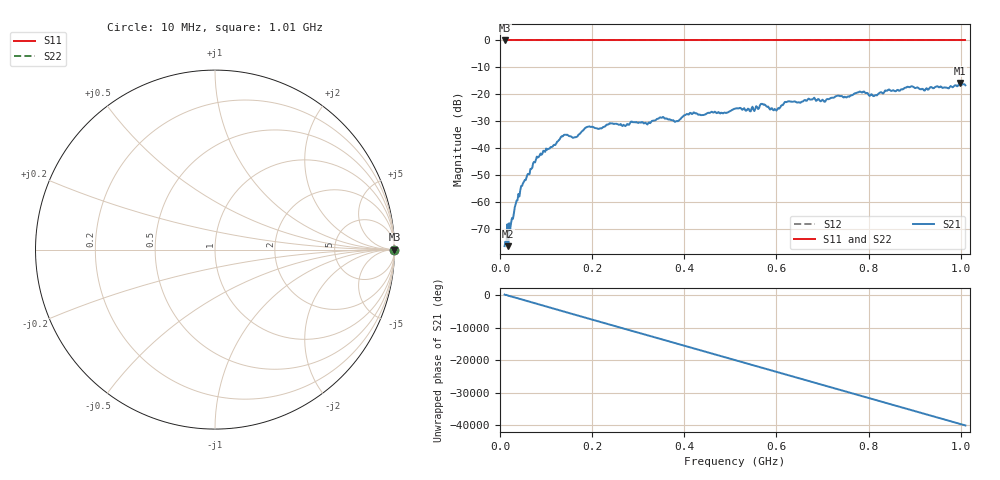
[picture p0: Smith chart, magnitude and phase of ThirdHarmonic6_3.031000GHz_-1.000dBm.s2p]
! 8/17/2025 8:45:07 AM
! C:\ANRITSUVNA\TEMP\TEMP.S2P
! CHANNEL.1
! TR.MEASUREMENT
! RAW.DATA
! RF.CORRECTION.OFF
! AVERAGING.OFF
! IF.BANDWIDTH: 5KHZ
! SWEEPTYPE:  FREQ.SWEEP(Linear)
! Reference Plane Port Info
! PORT:  PORT1  PORT2
! DISTANCE:  0  m  0  m
! TIME:  0  s  0  s
! PHASE.OFFSET:  0  deg.  0  deg.
! LOSS:  0  dB  0  dB
! REF.LOSS:  0  dB  0  dB
! REF.FREQ:  0  Hz  0  Hz
! Power Info
! POWER:  -20  dBm  -20  dBm
! EFF.POWER:  -20  dBm  -20  dBm
! SOURCE.ATTEN:  0  dB  0  dB
! TEST.ATTEN:  0  dB  0  dB
# GHZ S RI R 50.0
! FREQ.GHZ  S11RE  S11IM  S21RE  S21IM  S12RE  S12IM  S22RE  S22IM
!; PortSelection: Port_12
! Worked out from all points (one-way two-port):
!   501 points, 10 MHz to 1.01 GHz, reference 50 ohm
!   highest |S21| = -15.84 dB at 998 MHz (marker M1); lowest = -76.5 dB at 18 MHz (marker M2)
!   lowest |S11| = 0.0 dB at 10 MHz (marker M3)
!   |S11| at or under -10 dB: nowhere
!   |S22| runs from 0.0 to 0.0 dB; largest |S21 - S12| = 1.1
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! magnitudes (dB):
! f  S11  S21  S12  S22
! 10 MHz  0.0  -76.5  0.0  0.0
! 18 MHz  0.0  -76.5  0.0  0.0
! 48 MHz  0.0  -54.1  0.0  0.0
! 76 MHz  0.0  -45.4  0.0  0.0
! 136 MHz  0.0  -35.7  0.0  0.0
! 162 MHz  0.0  -36.0  0.0  0.0
! 178 MHz  0.0  -33.8  0.0  0.0
! 192 MHz  0.0  -32.1  0.0  0.0
! 344 MHz  0.0  -29.1  0.0  0.0
! 382 MHz  0.0  -30.1  0.0  0.0
! 410 MHz  0.0  -27.5  0.0  0.0
! 510 MHz  0.0  -25.4  0.0  0.0
! 548 MHz  0.0  -24.7  0.0  0.0
! 570 MHz  0.0  -23.6  0.0  0.0
! 596 MHz  0.0  -25.5  0.0  0.0
! 622 MHz  0.0  -23.0  0.0  0.0
! 678 MHz  0.0  -21.9  0.0  0.0
! 780 MHz  0.0  -19.0  0.0  0.0
! 814 MHz  0.0  -20.4  0.0  0.0
! 844 MHz  0.0  -18.2  0.0  0.0
! 998 MHz  0.0  -15.8  0.0  0.0
! 1.01 GHz  0.0  -16.7  0.0  0.0
